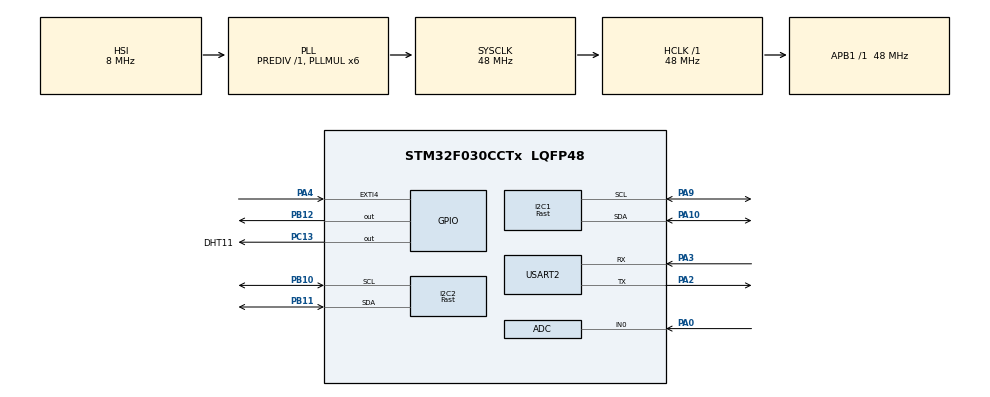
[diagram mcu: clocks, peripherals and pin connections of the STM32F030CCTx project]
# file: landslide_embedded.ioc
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ADC.ContinuousConvMode=ENABLE
I2C1.I2C_Speed_Mode=I2C_Fast
I2C1.Timing=0x0000020B
I2C2.I2C_Speed_Mode=I2C_Fast
I2C2.Timing=0x2010091A
Mcu.Family=STM32F0
Mcu.Name=STM32F030CCTx
Mcu.Package=LQFP48
NVIC.ADC1_IRQn=true\:0\:0\:false\:false\:true\:true\:true
NVIC.USART2_IRQn=true\:0\:0\:false\:false\:true\:true\:true
PA0.Mode=IN0
PA0.Signal=ADC_IN0
PA10.Mode=I2C
PA10.Signal=I2C1_SDA
PA13.Mode=Serial_Wire
PA13.Signal=SYS_SWDIO
PA14.Mode=Serial_Wire
PA14.Signal=SYS_SWCLK
PA2.Mode=Asynchronous
PA2.Signal=USART2_TX
PA3.Mode=Asynchronous
PA3.Signal=USART2_RX
PA4.GPIO_ModeDefaultEXTI=GPIO_MODE_IT_FALLING
PA4.GPIO_PuPd=GPIO_PULLUP
PA4.Signal=GPXTI4
PA9.Mode=I2C
PA9.Signal=I2C1_SCL
PB10.Mode=I2C
PB10.Signal=I2C2_SCL
PB11.Mode=I2C
PB11.Signal=I2C2_SDA
PB12.GPIO_Speed=GPIO_SPEED_FREQ_HIGH
PB12.PinState=GPIO_PIN_SET
PB12.Signal=GPIO_Output
PC13.GPIO_Label=DHT11
PC13.Signal=GPIO_Output
PC14OSC32_IN.Mode=LSE-External-Oscillator
PC14OSC32_IN.Signal=RCC_OSC32_IN
PC15OSC32_OUT.Mode=LSE-External-Oscillator
PC15OSC32_OUT.Signal=RCC_OSC32_OUT
PF0-OSC_IN.Mode=HSE-External-Oscillator
PF0-OSC_IN.Signal=RCC_OSC_IN
PF1-OSC_OUT.Mode=HSE-External-Oscillator
PF1-OSC_OUT.Signal=RCC_OSC_OUT
ProjectManager.HeapSize=0x200
ProjectManager.StackSize=0x400
ProjectManager.TargetToolchain=STM32CubeIDE
RCC.AHBFreq_Value=48000000
RCC.APB1Freq_Value=48000000
RCC.APB1TimFreq_Value=48000000
RCC.HCLKFreq_Value=48000000
RCC.PLLMUL=RCC_PLL_MUL6
RCC.SYSCLKFreq_VALUE=48000000
RCC.SYSCLKSource=RCC_SYSCLKSOURCE_PLLCLK
TIM3.Period=0xffff-1
TIM3.Prescaler=48-1
USART2.VirtualMode-Asynchronous=VM_ASYNC
VP_TIM3_VS_ClockSourceINT.Mode=Internal
board=custom

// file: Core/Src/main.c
/* USER CODE BEGIN Header */
/**
  ******************************************************************************
  * @file           : main.c
  * @brief          : Main program body
  ******************************************************************************
  * @attention
  *
  * <h2><center>&copy; Copyright (c) 2022 STMicroelectronics.
  * All rights reserved.</center></h2>
  *
  * This software component is licensed by ST under BSD 3-Clause license,
  * the "License"; You may not use this file except in compliance with the
  * License. You may obtain a copy of the License at:
  *                        opensource.org/licenses/BSD-3-Clause
  *
  ******************************************************************************
  */
/* USER CODE END Header */
#include "main.h"

ADC_HandleTypeDef hadc;

I2C_HandleTypeDef hi2c1;
I2C_HandleTypeDef hi2c2;

TIM_HandleTypeDef htim3;

UART_HandleTypeDef huart2;

/* USER CODE BEGIN PV */
DHT_Name DHT1;
MPU6050_t MPU1;

char buffer[50];
/* USER CODE END PV */

void SystemClock_Config(void);
static void MX_GPIO_Init(void);
static void MX_ADC_Init(void);
static void MX_I2C1_Init(void);
static void MX_I2C2_Init(void);
static void MX_TIM3_Init(void);
static void MX_USART2_UART_Init(void);

int main(void)
{

  /* MCU Configuration--------------------------------------------------------*/

  /* Reset of all peripherals, Initializes the Flash interface and the Systick. */
  HAL_Init();

  /* Configure the system clock */
  SystemClock_Config();

  /* Initialize all configured peripherals */
  MX_GPIO_Init();
  MX_ADC_Init();
  MX_I2C1_Init();
  MX_I2C2_Init();
  MX_TIM3_Init();
  MX_USART2_UART_Init();
  /* USER CODE BEGIN 2 */
  SSD1306_Init();
  HAL_TIM_Base_Start(&htim3);
  DHT_Init(&DHT1, &htim3, DHT11_GPIO_Port, DHT11_Pin);
  MPU6050_Init(&hi2c1);
  /* USER CODE END 2 */

  /* Infinite loop */
  /* USER CODE BEGIN WHILE */
  	SSD1306_GotoXY (15,0);
  	SSD1306_Puts ("<- Start!!! ->", &Font_7x10, 1);
  	SSD1306_UpdateScreen(); //display
  	HAL_Delay(1000);
  while (1)
  {
	HAL_GPIO_TogglePin(GPIOB, GPIO_PIN_12);
	HAL_Delay(200);
    /* USER CODE END WHILE */

    /* USER CODE BEGIN 3 */
	DHT_ReadTempHum(&DHT1);
	MPU6050_Read_Accel(&hi2c1, &MPU1);
	MPU6050_Read_Gyro(&hi2c1, &MPU1);
	MPU6050_Read_Temp(&hi2c1, &MPU1);

	SSD1306_Clear();
	SSD1306_GotoXY (15,0);
	sprintf(buffer, "%0.1f", DHT1.Temp);
	SSD1306_Puts (buffer, &Font_7x10, 1);
	SSD1306_print(0, 10, MPU1.Ax);
	SSD1306_print(45, 10, MPU1.Ay);
	SSD1306_print(90, 10, MPU1.Az);
	SSD1306_print(0, 20, MPU1.Gx);
	SSD1306_print(45, 20, MPU1.Gy);
	SSD1306_print(90, 20, MPU1.Gz);
	SSD1306_UpdateScreen();
	HAL_Delay(1000);

  }
  /* USER CODE END 3 */
}

void SystemClock_Config(void)
{
  RCC_OscInitTypeDef RCC_OscInitStruct = {0};
  RCC_ClkInitTypeDef RCC_ClkInitStruct = {0};
  RCC_PeriphCLKInitTypeDef PeriphClkInit = {0};

  /** Initializes the RCC Oscillators according to the specified parameters
  * in the RCC_OscInitTypeDef structure.
  */
  RCC_OscInitStruct.OscillatorType = RCC_OSCILLATORTYPE_HSI|RCC_OSCILLATORTYPE_HSI14;
  RCC_OscInitStruct.HSIState = RCC_HSI_ON;
  RCC_OscInitStruct.HSI14State = RCC_HSI14_ON;
  RCC_OscInitStruct.HSICalibrationValue = RCC_HSICALIBRATION_DEFAULT;
  RCC_OscInitStruct.HSI14CalibrationValue = 16;
  RCC_OscInitStruct.PLL.PLLState = RCC_PLL_ON;
  RCC_OscInitStruct.PLL.PLLSource = RCC_PLLSOURCE_HSI;
  RCC_OscInitStruct.PLL.PLLMUL = RCC_PLL_MUL6;
  RCC_OscInitStruct.PLL.PREDIV = RCC_PREDIV_DIV1;
  if (HAL_RCC_OscConfig(&RCC_OscInitStruct) != HAL_OK)
  {
    Error_Handler();
  }
  /** Initializes the CPU, AHB and APB buses clocks
  */
  RCC_ClkInitStruct.ClockType = RCC_CLOCKTYPE_HCLK|RCC_CLOCKTYPE_SYSCLK
                              |RCC_CLOCKTYPE_PCLK1;
  RCC_ClkInitStruct.SYSCLKSource = RCC_SYSCLKSOURCE_PLLCLK;
  RCC_ClkInitStruct.AHBCLKDivider = RCC_SYSCLK_DIV1;
  RCC_ClkInitStruct.APB1CLKDivider = RCC_HCLK_DIV1;

  if (HAL_RCC_ClockConfig(&RCC_ClkInitStruct, FLASH_LATENCY_1) != HAL_OK)
  {
    Error_Handler();
  }
  PeriphClkInit.PeriphClockSelection = RCC_PERIPHCLK_I2C1;
  PeriphClkInit.I2c1ClockSelection = RCC_I2C1CLKSOURCE_HSI;
  if (HAL_RCCEx_PeriphCLKConfig(&PeriphClkInit) != HAL_OK)
  {
    Error_Handler();
  }
}

static void MX_ADC_Init(void)
{

  ADC_ChannelConfTypeDef sConfig = {0};

  /** Configure the global features of the ADC (Clock, Resolution, Data Alignment and number of conversion)
  */
  hadc.Instance = ADC1;
  hadc.Init.ClockPrescaler = ADC_CLOCK_ASYNC_DIV1;
  hadc.Init.Resolution = ADC_RESOLUTION_12B;
  hadc.Init.DataAlign = ADC_DATAALIGN_RIGHT;
  hadc.Init.ScanConvMode = ADC_SCAN_DIRECTION_FORWARD;
  hadc.Init.EOCSelection = ADC_EOC_SINGLE_CONV;
  hadc.Init.LowPowerAutoWait = DISABLE;
  hadc.Init.LowPowerAutoPowerOff = DISABLE;
  hadc.Init.ContinuousConvMode = ENABLE;
  hadc.Init.DiscontinuousConvMode = DISABLE;
  hadc.Init.ExternalTrigConv = ADC_SOFTWARE_START;
  hadc.Init.ExternalTrigConvEdge = ADC_EXTERNALTRIGCONVEDGE_NONE;
  hadc.Init.DMAContinuousRequests = DISABLE;
  hadc.Init.Overrun = ADC_OVR_DATA_PRESERVED;
  if (HAL_ADC_Init(&hadc) != HAL_OK)
  {
    Error_Handler();
  }
  /** Configure for the selected ADC regular channel to be converted.
  */
  sConfig.Channel = ADC_CHANNEL_0;
  sConfig.Rank = ADC_RANK_CHANNEL_NUMBER;
  sConfig.SamplingTime = ADC_SAMPLETIME_1CYCLE_5;
  if (HAL_ADC_ConfigChannel(&hadc, &sConfig) != HAL_OK)
  {
    Error_Handler();
  }

}

static void MX_I2C1_Init(void)
{

  hi2c1.Instance = I2C1;
  hi2c1.Init.Timing = 0x0000020B;
  hi2c1.Init.OwnAddress1 = 0;
  hi2c1.Init.AddressingMode = I2C_ADDRESSINGMODE_7BIT;
  hi2c1.Init.DualAddressMode = I2C_DUALADDRESS_DISABLE;
  hi2c1.Init.OwnAddress2 = 0;
  hi2c1.Init.OwnAddress2Masks = I2C_OA2_NOMASK;
  hi2c1.Init.GeneralCallMode = I2C_GENERALCALL_DISABLE;
  hi2c1.Init.NoStretchMode = I2C_NOSTRETCH_DISABLE;
  if (HAL_I2C_Init(&hi2c1) != HAL_OK)
  {
    Error_Handler();
  }
  /** Configure Analogue filter
  */
  if (HAL_I2CEx_ConfigAnalogFilter(&hi2c1, I2C_ANALOGFILTER_ENABLE) != HAL_OK)
  {
    Error_Handler();
  }
  /** Configure Digital filter
  */
  if (HAL_I2CEx_ConfigDigitalFilter(&hi2c1, 0) != HAL_OK)
  {
    Error_Handler();
  }

}

static void MX_I2C2_Init(void)
{

  hi2c2.Instance = I2C2;
  hi2c2.Init.Timing = 0x2010091A;
  hi2c2.Init.OwnAddress1 = 0;
  hi2c2.Init.AddressingMode = I2C_ADDRESSINGMODE_7BIT;
  hi2c2.Init.DualAddressMode = I2C_DUALADDRESS_DISABLE;
  hi2c2.Init.OwnAddress2 = 0;
  hi2c2.Init.OwnAddress2Masks = I2C_OA2_NOMASK;
  hi2c2.Init.GeneralCallMode = I2C_GENERALCALL_DISABLE;
  hi2c2.Init.NoStretchMode = I2C_NOSTRETCH_DISABLE;
  if (HAL_I2C_Init(&hi2c2) != HAL_OK)
  {
    Error_Handler();
  }
  /** Configure Analogue filter
  */
  if (HAL_I2CEx_ConfigAnalogFilter(&hi2c2, I2C_ANALOGFILTER_ENABLE) != HAL_OK)
  {
    Error_Handler();
  }
  /** Configure Digital filter
  */
  if (HAL_I2CEx_ConfigDigitalFilter(&hi2c2, 0) != HAL_OK)
  {
    Error_Handler();
  }

}

static void MX_TIM3_Init(void)
{

  TIM_ClockConfigTypeDef sClockSourceConfig = {0};
  TIM_MasterConfigTypeDef sMasterConfig = {0};

  htim3.Instance = TIM3;
  htim3.Init.Prescaler = 48-1;
  htim3.Init.CounterMode = TIM_COUNTERMODE_UP;
  htim3.Init.Period = 0xffff-1;
  htim3.Init.ClockDivision = TIM_CLOCKDIVISION_DIV1;
  htim3.Init.AutoReloadPreload = TIM_AUTORELOAD_PRELOAD_DISABLE;
  if (HAL_TIM_Base_Init(&htim3) != HAL_OK)
  {
    Error_Handler();
  }
  sClockSourceConfig.ClockSource = TIM_CLOCKSOURCE_INTERNAL;
  if (HAL_TIM_ConfigClockSource(&htim3, &sClockSourceConfig) != HAL_OK)
  {
    Error_Handler();
  }
  sMasterConfig.MasterOutputTrigger = TIM_TRGO_RESET;
  sMasterConfig.MasterSlaveMode = TIM_MASTERSLAVEMODE_DISABLE;
  if (HAL_TIMEx_MasterConfigSynchronization(&htim3, &sMasterConfig) != HAL_OK)
  {
    Error_Handler();
  }

}

static void MX_USART2_UART_Init(void)
{

  huart2.Instance = USART2;
  huart2.Init.BaudRate = 115200;
  huart2.Init.WordLength = UART_WORDLENGTH_8B;
  huart2.Init.StopBits = UART_STOPBITS_1;
  huart2.Init.Parity = UART_PARITY_NONE;
  huart2.Init.Mode = UART_MODE_TX_RX;
  huart2.Init.HwFlowCtl = UART_HWCONTROL_NONE;
  huart2.Init.OverSampling = UART_OVERSAMPLING_16;
  huart2.Init.OneBitSampling = UART_ONE_BIT_SAMPLE_DISABLE;
  huart2.AdvancedInit.AdvFeatureInit = UART_ADVFEATURE_NO_INIT;
  if (HAL_UART_Init(&huart2) != HAL_OK)
  {
    Error_Handler();
  }

}

static void MX_GPIO_Init(void)
{
  GPIO_InitTypeDef GPIO_InitStruct = {0};

  /* GPIO Ports Clock Enable */
  __HAL_RCC_GPIOC_CLK_ENABLE();
  __HAL_RCC_GPIOF_CLK_ENABLE();
  __HAL_RCC_GPIOA_CLK_ENABLE();
  __HAL_RCC_GPIOB_CLK_ENABLE();

  /*Configure GPIO pin Output Level */
  HAL_GPIO_WritePin(DHT11_GPIO_Port, DHT11_Pin, GPIO_PIN_RESET);

  /*Configure GPIO pin Output Level */
  HAL_GPIO_WritePin(GPIOB, GPIO_PIN_12, GPIO_PIN_SET);

  /*Configure GPIO pin : DHT11_Pin */
  GPIO_InitStruct.Pin = DHT11_Pin;
  GPIO_InitStruct.Mode = GPIO_MODE_OUTPUT_PP;
  GPIO_InitStruct.Pull = GPIO_NOPULL;
  GPIO_InitStruct.Speed = GPIO_SPEED_FREQ_LOW;
  HAL_GPIO_Init(DHT11_GPIO_Port, &GPIO_InitStruct);

  /*Configure GPIO pin : PA4 */
  GPIO_InitStruct.Pin = GPIO_PIN_4;
  GPIO_InitStruct.Mode = GPIO_MODE_IT_FALLING;
  GPIO_InitStruct.Pull = GPIO_PULLUP;
  HAL_GPIO_Init(GPIOA, &GPIO_InitStruct);

  /*Configure GPIO pin : PB12 */
  GPIO_InitStruct.Pin = GPIO_PIN_12;
  GPIO_InitStruct.Mode = GPIO_MODE_OUTPUT_PP;
  GPIO_InitStruct.Pull = GPIO_NOPULL;
  GPIO_InitStruct.Speed = GPIO_SPEED_FREQ_HIGH;
  HAL_GPIO_Init(GPIOB, &GPIO_InitStruct);

}

void Error_Handler(void)
{
  __disable_irq();
  while (1)
  {
  }
}

/************************ (C) COPYRIGHT STMicroelectronics *****END OF FILE****/
